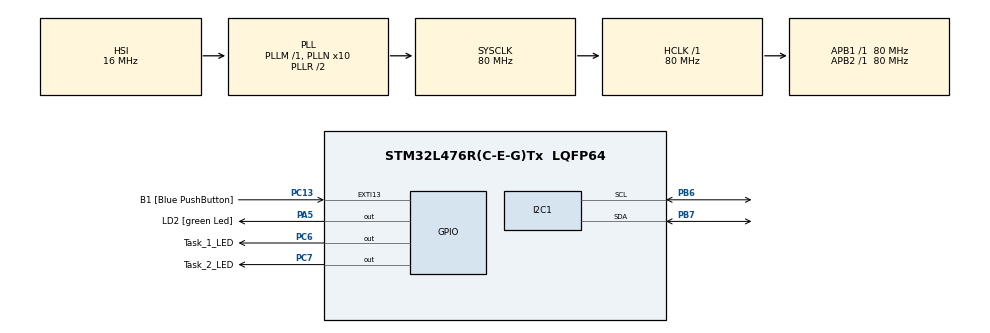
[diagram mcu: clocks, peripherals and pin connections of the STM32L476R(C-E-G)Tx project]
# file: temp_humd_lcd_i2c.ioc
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I2C1.Timing=0x10909CEC
Mcu.Family=STM32L4
Mcu.Name=STM32L476R(C-E-G)Tx
Mcu.Package=LQFP64
NVIC.PriorityGroup=NVIC_PRIORITYGROUP_4
NVIC.TIM6_DAC_IRQn=true\:15\:0\:false\:false\:true\:false\:true\:true
NVIC.TimeBase=TIM6_DAC_IRQn
NVIC.TimeBaseIP=TIM6
PA13\ (JTMS-SWDIO).GPIO_Label=TMS
PA13\ (JTMS-SWDIO).Signal=SYS_JTMS-SWDIO
PA14\ (JTCK-SWCLK).GPIO_Label=TCK
PA14\ (JTCK-SWCLK).Signal=SYS_JTCK-SWCLK
PA2.GPIO_Label=USART_TX
PA2.GPIO_Mode=GPIO_MODE_AF_PP
PA2.GPIO_PuPd=GPIO_NOPULL
PA2.GPIO_Speed=GPIO_SPEED_FREQ_VERY_HIGH
PA2.Signal=USART2_TX
PA3.GPIO_Label=USART_RX
PA3.GPIO_Mode=GPIO_MODE_AF_PP
PA3.GPIO_PuPd=GPIO_NOPULL
PA3.GPIO_Speed=GPIO_SPEED_FREQ_VERY_HIGH
PA3.Signal=USART2_RX
PA5.GPIO_Label=LD2 [green Led]
PA5.GPIO_ModeDefaultOutputPP=GPIO_MODE_OUTPUT_PP
PA5.GPIO_PuPd=GPIO_NOPULL
PA5.GPIO_Speed=GPIO_SPEED_FREQ_LOW
PA5.Signal=GPIO_Output
PB3\ (JTDO-TRACESWO).GPIO_Label=SWO
PB3\ (JTDO-TRACESWO).Signal=SYS_JTDO-SWO
PB6.Mode=I2C
PB6.Signal=I2C1_SCL
PB7.Mode=I2C
PB7.Signal=I2C1_SDA
PC13.GPIO_Label=B1 [Blue PushButton]
PC13.GPIO_ModeDefaultEXTI=GPIO_MODE_IT_FALLING
PC13.GPIO_PuPd=GPIO_NOPULL
PC13.Signal=GPXTI13
PC14-OSC32_IN\ (PC14).Signal=RCC_OSC32_IN
PC15-OSC32_OUT\ (PC15).Signal=RCC_OSC32_OUT
PC6.GPIO_Label=Task_1_LED
PC6.Signal=GPIO_Output
PC7.GPIO_Label=Task_2_LED
PC7.Signal=GPIO_Output
PH0-OSC_IN\ (PH0).Signal=RCC_OSC_IN
PH1-OSC_OUT\ (PH1).Signal=RCC_OSC_OUT
ProjectManager.HeapSize=0x200
ProjectManager.StackSize=0x400
ProjectManager.TargetToolchain=STM32CubeIDE
RCC.ADCFreq_Value=64000000
RCC.AHBFreq_Value=80000000
RCC.APB1Freq_Value=80000000
RCC.APB1TimFreq_Value=80000000
RCC.APB2Freq_Value=80000000
RCC.APB2TimFreq_Value=80000000
RCC.CortexFreq_Value=80000000
RCC.HCLKFreq_Value=80000000
RCC.HSE_VALUE=8000000
RCC.HSI_VALUE=16000000
RCC.LSE_VALUE=32768
RCC.MSI_VALUE=4000000
RCC.PLLN=10
RCC.PLLSourceVirtual=RCC_PLLSOURCE_HSI
RCC.PREFETCH_ENABLE=1
RCC.SYSCLKFreq_VALUE=80000000
RCC.SYSCLKSource=RCC_SYSCLKSOURCE_PLLCLK
RCC.USBFreq_Value=64000000
RCC.VCOOutputFreq_Value=160000000
VP_SYS_VS_tim6.Mode=TIM6
board=NUCLEO-L476RG

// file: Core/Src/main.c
/* USER CODE BEGIN Header */
/**
  ******************************************************************************
  * @file           : main.c
  * @brief          : Main program body
  ******************************************************************************
  * @attention
  *
  * Copyright (c) 2025 STMicroelectronics.
  * All rights reserved.
  *
  * This software is licensed under terms that can be found in the LICENSE file
  * in the root directory of this software component.
  * If no LICENSE file comes with this software, it is provided AS-IS.
  *
  ******************************************************************************
  */
/* USER CODE END Header */
#include "main.h"
#include "i2c.h"
#include "gpio.h"

/* USER CODE BEGIN Includes */

#include <stdio.h>
#include "FreeRTOS.h"
#include "task.h"
#include "semphr.h"

#include "lcd_i2c.h"
#include <stdbool.h>

#include "aht20_i2c.h"

#include "string.h"
#include "math.h"

/* USER CODE END Includes */

/* USER CODE BEGIN PD */

#define LCD_ADDRESS (0x3F << 1)

/* USER CODE END PD */

/* USER CODE BEGIN PV */

struct lcd_disp disp;
aht20 aht;

SemaphoreHandle_t i2c_mutex;

/* USER CODE END PV */

void SystemClock_Config(void);

/* USER CODE BEGIN 0 */

void LCDTask(void* pvParameters) {
	disp.addr = LCD_ADDRESS;
	disp.bl = true;
	lcd_init(&disp);
	BaseType_t status;

	for (;;) {
		sprintf((char *)disp.f_line, "Temp: %.2f", aht.temperature);
		sprintf((char *)disp.s_line, "Humd: %.2f", aht.humidity);

		status = xSemaphoreTake( i2c_mutex, pdMS_TO_TICKS(2000) );
		if (status == pdTRUE)
		{
			lcd_display(&disp);
			xSemaphoreGive( i2c_mutex );
			vTaskDelay(pdMS_TO_TICKS(2000));
		} else {
			vTaskDelay(pdMS_TO_TICKS(40));
		}
	}
}

void AHT20Task(void* pvParameters) {
	vTaskDelay(pdMS_TO_TICKS(40));
	AHT20_Initialize();
	BaseType_t status;

	for (;;) {
		status = xSemaphoreTake( i2c_mutex, pdMS_TO_TICKS(2000) );
		if (status == pdTRUE)
		{
			AHT20_Make_Measurement(&aht);
			xSemaphoreGive( i2c_mutex );
			vTaskDelay(pdMS_TO_TICKS(1000));
		} else {
			vTaskDelay(pdMS_TO_TICKS(40));
		}
	}
}

/* USER CODE END 0 */

int main(void)
{

  /* MCU Configuration--------------------------------------------------------*/

  /* Reset of all peripherals, Initializes the Flash interface and the Systick. */
  HAL_Init();

  /* Configure the system clock */
  SystemClock_Config();

  /* Initialize all configured peripherals */
  MX_GPIO_Init();
  MX_I2C1_Init();
  /* USER CODE BEGIN 2 */

  i2c_mutex = xSemaphoreCreateMutex();
  configASSERT(i2c_mutex != NULL);

  BaseType_t status;

  status = xTaskCreate(LCDTask, "LCDTask", 200, NULL, 4, NULL);
  configASSERT(status == pdPASS);

  status = xTaskCreate(AHT20Task, "AHT20Task", 200, NULL, 4, NULL);
  configASSERT(status == pdPASS);

  vTaskStartScheduler();

  /* USER CODE END 2 */

  /* Infinite loop */
  while (1)
  {

  }
}

void SystemClock_Config(void)
{
  RCC_OscInitTypeDef RCC_OscInitStruct = {0};
  RCC_ClkInitTypeDef RCC_ClkInitStruct = {0};

  /** Configure the main internal regulator output voltage
  */
  if (HAL_PWREx_ControlVoltageScaling(PWR_REGULATOR_VOLTAGE_SCALE1) != HAL_OK)
  {
    Error_Handler();
  }

  /** Initializes the RCC Oscillators according to the specified parameters
  * in the RCC_OscInitTypeDef structure.
  */
  RCC_OscInitStruct.OscillatorType = RCC_OSCILLATORTYPE_HSI;
  RCC_OscInitStruct.HSIState = RCC_HSI_ON;
  RCC_OscInitStruct.HSICalibrationValue = RCC_HSICALIBRATION_DEFAULT;
  RCC_OscInitStruct.PLL.PLLState = RCC_PLL_ON;
  RCC_OscInitStruct.PLL.PLLSource = RCC_PLLSOURCE_HSI;
  RCC_OscInitStruct.PLL.PLLM = 1;
  RCC_OscInitStruct.PLL.PLLN = 10;
  RCC_OscInitStruct.PLL.PLLP = RCC_PLLP_DIV7;
  RCC_OscInitStruct.PLL.PLLQ = RCC_PLLQ_DIV2;
  RCC_OscInitStruct.PLL.PLLR = RCC_PLLR_DIV2;
  if (HAL_RCC_OscConfig(&RCC_OscInitStruct) != HAL_OK)
  {
    Error_Handler();
  }

  /** Initializes the CPU, AHB and APB buses clocks
  */
  RCC_ClkInitStruct.ClockType = RCC_CLOCKTYPE_HCLK|RCC_CLOCKTYPE_SYSCLK
                              |RCC_CLOCKTYPE_PCLK1|RCC_CLOCKTYPE_PCLK2;
  RCC_ClkInitStruct.SYSCLKSource = RCC_SYSCLKSOURCE_PLLCLK;
  RCC_ClkInitStruct.AHBCLKDivider = RCC_SYSCLK_DIV1;
  RCC_ClkInitStruct.APB1CLKDivider = RCC_HCLK_DIV1;
  RCC_ClkInitStruct.APB2CLKDivider = RCC_HCLK_DIV1;

  if (HAL_RCC_ClockConfig(&RCC_ClkInitStruct, FLASH_LATENCY_4) != HAL_OK)
  {
    Error_Handler();
  }
}

void HAL_TIM_PeriodElapsedCallback(TIM_HandleTypeDef *htim)
{
  if (htim->Instance == TIM6) {
    HAL_IncTick();
  }
}

void Error_Handler(void)
{
  __disable_irq();
  while (1)
  {
  }
}
